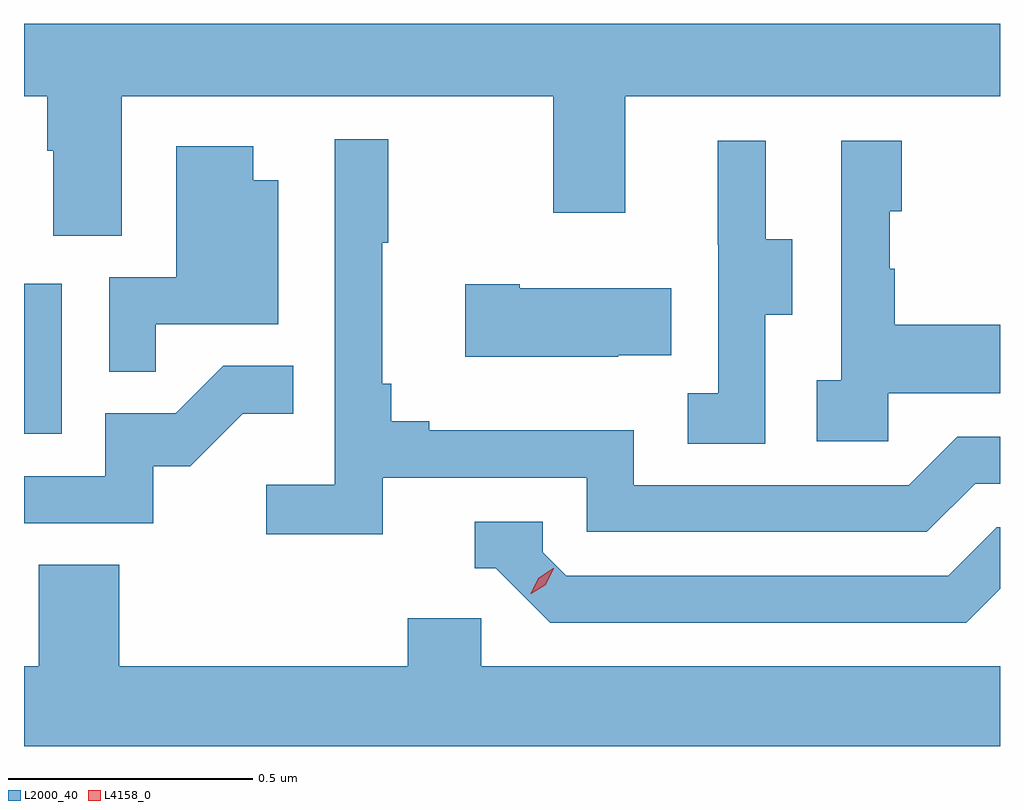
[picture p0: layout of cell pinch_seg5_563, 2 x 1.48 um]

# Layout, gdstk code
import gdstk
lib = gdstk.Library(unit=1e-6, precision=1e-09)
def R(c, l, rs):  # rectangles x0, y0, x1, y1
    for r in rs: c.add(gdstk.rectangle(r[:2], r[2:], *l))
def P(c, l, *ps):  # polygons
    for p in ps: c.add(gdstk.Polygon(p, *l))
L2000_40 = (2000, 40)
L4158_0 = (4158, 0)

pinch_seg5_563 = lib.new_cell('pinch_seg5_563')
R(pinch_seg5_563, L2000_40, [(1009.451,834.756,1009.528,835.063)])
P(pinch_seg5_563, L2000_40, [(1009.651,835.448),(1010.536,835.448),(1010.536,835.209),(1010.683,835.209),(1010.683,835.448),(1011.451,835.448),(1011.451,835.596),(1009.451,835.596),(1009.451,835.448),(1009.499,835.448),(1009.499,835.336),(1009.511,835.336),(1009.511,835.162),(1009.651,835.162)],
  [(1010.186,834.666),(1010.604,834.666),(1010.604,834.555),(1011.301,834.555),(1011.4,834.654),(1011.451,834.654),(1011.451,834.75),(1011.363,834.75),(1011.264,834.651),(1010.7,834.651),(1010.7,834.763),(1010.281,834.763),(1010.281,834.782),(1010.204,834.782),(1010.204,834.859),(1010.185,834.859),(1010.185,835.147),(1010.197,835.147),(1010.197,835.36),(1010.088,835.36),(1010.088,834.652),(1009.947,834.652),(1009.947,834.55),(1010.186,834.55)],
  [(1011.222,834.839),(1011.451,834.839),(1011.451,834.979),(1011.235,834.979),(1011.235,835.094),(1011.225,835.094),(1011.225,835.212),(1011.25,835.212),(1011.25,835.357),(1011.126,835.357),(1011.126,834.866),(1011.075,834.866),(1011.075,834.741),(1011.222,834.741)],
  [(1010.97,835),(1011.025,835),(1011.025,835.155),(1010.971,835.155),(1010.971,835.357),(1010.873,835.357),(1010.873,835.143),(1010.874,835.143),(1010.874,834.839),(1010.811,834.839),(1010.811,834.736),(1010.97,834.736)],
  [(1009.721,834.981),(1009.972,834.981),(1009.972,835.276),(1009.921,835.276),(1009.921,835.345),(1009.763,835.345),(1009.763,835.077),(1009.626,835.077),(1009.626,834.883),(1009.721,834.883)],
  [(1010.669,834.917),(1010.777,834.917),(1010.777,835.054),(1010.467,835.054),(1010.467,835.062),(1010.355,835.062),(1010.355,834.914),(1010.669,834.914)],
  [(1009.716,834.69),(1009.792,834.69),(1009.899,834.797),(1010.003,834.797),(1010.003,834.895),(1009.859,834.895),(1009.762,834.798),(1009.617,834.798),(1009.617,834.669),(1009.451,834.669),(1009.451,834.573),(1009.716,834.573)],
  [(1011.451,834.438),(1011.451,834.564),(1011.444,834.564),(1011.345,834.465),(1010.562,834.465),(1010.514,834.513),(1010.514,834.576),(1010.375,834.576),(1010.375,834.48),(1010.418,834.48),(1010.529,834.369),(1011.382,834.369)],
  [(1011.451,834.28),(1010.388,834.28),(1010.388,834.378),(1010.237,834.378),(1010.237,834.28),(1009.646,834.28),(1009.646,834.488),(1009.481,834.488),(1009.481,834.28),(1009.451,834.28),(1009.451,834.116),(1011.451,834.116)])
P(pinch_seg5_563, L4158_0, [(1010.489,834.428),(1010.489,834.429),(1010.506,834.461),(1010.536,834.48),(1010.537,834.48),(1010.537,834.48),(1010.52,834.447),(1010.49,834.428)])

lib.write_gds('pinch_seg5_563.gds')
